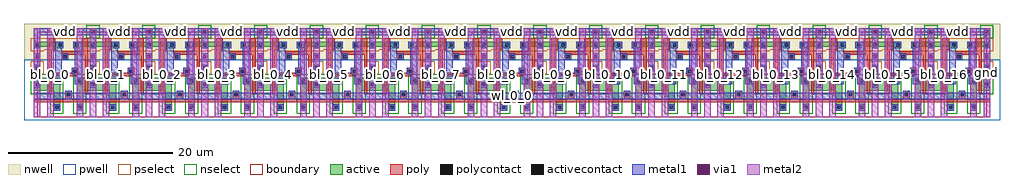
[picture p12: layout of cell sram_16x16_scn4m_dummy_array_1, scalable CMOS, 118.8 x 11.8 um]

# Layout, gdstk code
import gdstk
lib = gdstk.Library(unit=1e-6, precision=1e-09)
def R(c, l, rs):  # rectangles x0, y0, x1, y1
    for r in rs: c.add(gdstk.rectangle(r[:2], r[2:], *l))
def A(c, l, x, y, w, h, nx, ny, dx, dy):  # array of equal rectangles
    R(c, l, [(x+i*dx, y+j*dy, x+i*dx+w, y+j*dy+h) for i in range(nx) for j in range(ny)])
pwell = (41, 0)
nwell = (42, 0)
active = (43, 0)
pselect = (44, 0)
nselect = (45, 0)
poly = (46, 0)
polycontact = (47, 0)
activecontact = (48, 0)
metal1 = (49, 0)
via1 = (50, 0)
metal2 = (51, 0)
boundary = (63, 0)

dummy_cell_1rw = lib.new_cell('dummy_cell_1rw')
R(dummy_cell_1rw, pwell, [(-1.6,-0.4,8.4,7)])
R(dummy_cell_1rw, nwell, [(-1.6,7,8.4,11.4)])
A(dummy_cell_1rw, active, 2.4, 8.4, 0.8, 0.2, 3, 1, 2, 0)
R(dummy_cell_1rw, active, [(2,0.8,2.8,3.2), (4.8,0.8,5.6,3.2), (-0.4,3.2,2.8,4.8), (4.8,3.2,7.2,4.8), (-0.4,5.6,0.4,6.4), (6.4,5.6,7.2,6.4), (-0.4,8.4,0.4,8.6), (-0.4,8.6,3.2,9.2), (4.4,8.6,7.2,9.2), (6.4,10,7.2,10.8)])
R(dummy_cell_1rw, pselect, [(-0.8,5.2,0.8,6.8), (6,5.2,7.6,6.8), (-0.8,8,0.8,8.2), (2,8,7.6,8.2), (-0.8,8.2,7.6,9.6)])
R(dummy_cell_1rw, nselect, [(1.6,0.4,3.2,2.8), (4.4,0.4,6,2.8), (-0.8,2.8,3.2,5.2), (4.4,2.8,7.6,5.2), (6,9.6,7.6,11.2)])
R(dummy_cell_1rw, poly, [(-0.4,1.8,7.2,2.2), (3.4,2.2,4.2,3.2), (1.4,2.8,1.8,5), (5.8,2.8,6.2,7.6), (1.4,5,4.8,5.2), (1.4,5.2,5,5.4), (1.4,5.4,1.8,8.2), (4.2,5.4,5,6), (3,7,3.8,7.6), (3,7.6,6.2,8), (5.4,8,6.2,9.6), (1.4,8.2,2.2,9.6)])
R(dummy_cell_1rw, polycontact, [(3.6,2.6,4,3), (4.4,5.4,4.8,5.8), (3.2,7.2,3.6,7.6)])
A(dummy_cell_1rw, activecontact, 2.6, 8.6, 0.4, 0.4, 3, 1, 2, 0)
R(dummy_cell_1rw, activecontact, [(2.2,1,2.6,1.4), (5,1,5.4,1.4), (-0.2,3.8,0.2,4.2), (6.6,3.8,7,4.2), (2.2,4.2,2.6,4.6), (5,4.2,5.4,4.6), (-0.2,5.8,0.2,6.2), (6.6,5.8,7,6.2), (-0.2,8.6,0.2,9), (6.6,10.2,7,10.6)])
R(dummy_cell_1rw, metal1, [(2,0.8,2.8,1.6), (4.8,0.8,5.6,1.6), (-0.4,2.2,7.2,3), (-0.4,2.2,7.2,3), (3.4,3,4.2,3.2), (-0.4,3.6,0.4,7.8), (6.4,3.6,7.2,7.8), (2,4,3,4.8), (4.6,4,5.6,4.8), (2.2,4.8,3,7), (4.6,4.8,5.4,5.2), (4.2,5.2,5.4,6), (4.6,6,5.4,8.4), (2.2,7,3.8,7.8), (2.2,7.8,3,8.4), (-0.4,8.4,0.4,10), (2.2,8.4,3.2,9.2), (4.4,8.4,5.4,9.2), (6.4,8.4,7.2,10), (-0.4,10,7.2,10.8), (-0.4,10,7.2,10.8)])
R(dummy_cell_1rw, via1, [(-0.2,7.2,0.2,7.6), (6.6,7.2,7,7.6)])
R(dummy_cell_1rw, metal2, [(-0.4,0,0.4,10.8), (-0.4,0,0.4,10.8), (1.2,0,2,10.8), (1.2,0,2,10.8), (4.8,0,5.6,10.8), (4.8,0,5.6,10.8), (6.4,0,7.2,10.8), (6.4,0,7.2,10.8)])
R(dummy_cell_1rw, boundary, [(0,0,6.8,10.4)])
dummy_cell_1rw.add(gdstk.Label('vdd', (3.34,10.4), layer=49, texttype=0))
dummy_cell_1rw.add(gdstk.Label('wl', (0.8,2.6), layer=49, texttype=0))
dummy_cell_1rw.add(gdstk.Label('gnd', (0,1.2), layer=51, texttype=0))
dummy_cell_1rw.add(gdstk.Label('gnd', (6.8,1.2), layer=51, texttype=0))
dummy_cell_1rw.add(gdstk.Label('bl', (1.6,9.8), layer=51, texttype=0))
dummy_cell_1rw.add(gdstk.Label('br', (5.2,9.8), layer=51, texttype=0))
dummy_cell_1rw.add(gdstk.Label('bl', (1.6,5.4), layer=51, texttype=0))
dummy_cell_1rw.add(gdstk.Label('br', (5.2,5.4), layer=51, texttype=0))
dummy_cell_1rw.add(gdstk.Label('wl', (3.4,2.6), layer=49, texttype=0))
dummy_cell_1rw.add(gdstk.Label('vdd', (3.4,10.4), layer=49, texttype=0))
dummy_cell_1rw.add(gdstk.Label('gnd', (0,5.4), layer=51, texttype=0))
dummy_cell_1rw.add(gdstk.Label('gnd', (6.8,5.4), layer=51, texttype=0))

sram_16x16_scn4m_dummy_a = lib.new_cell('sram_16x16_scn4m_dummy_array_1')
A(sram_16x16_scn4m_dummy_a, metal1, -0.4, 10, 7.6, 0.8, 17, 1, 6.8, 0)
R(sram_16x16_scn4m_dummy_a, metal1, [(0,2.2,115.6,3)])
A(sram_16x16_scn4m_dummy_a, metal2, -0.4, 0, 0.8, 10.8, 18, 1, 6.8, 0)
R(sram_16x16_scn4m_dummy_a, metal2, [(1.2,0,2,10.4), (4.8,0,5.6,10.4), (8,0,8.8,10.4), (11.6,0,12.4,10.4), (14.8,0,15.6,10.4), (18.4,0,19.2,10.4), (21.6,0,22.4,10.4), (25.2,0,26,10.4), (28.4,0,29.2,10.4), (32,0,32.8,10.4), (35.2,0,36,10.4), (38.8,0,39.6,10.4), (42,0,42.8,10.4), (45.6,0,46.4,10.4), (48.8,0,49.6,10.4), (52.4,0,53.2,10.4), (55.6,0,56.4,10.4), (59.2,0,60,10.4), (62.4,0,63.2,10.4), (66,0,66.8,10.4), (69.2,0,70,10.4), (72.8,0,73.6,10.4), (76,0,76.8,10.4), (79.6,0,80.4,10.4), (82.8,0,83.6,10.4), (86.4,0,87.2,10.4), (89.6,0,90.4,10.4), (93.2,0,94,10.4), (96.4,0,97.2,10.4), (100,0,100.8,10.4), (103.2,0,104,10.4), (106.8,0,107.6,10.4), (110,0,110.8,10.4), (113.6,0,114.4,10.4)])
R(sram_16x16_scn4m_dummy_a, boundary, [(0,0,115.6,10.4)])
sram_16x16_scn4m_dummy_a.add(gdstk.Reference(dummy_cell_1rw, (0,0)))
sram_16x16_scn4m_dummy_a.add(gdstk.Reference(dummy_cell_1rw, (6.8,0)))
sram_16x16_scn4m_dummy_a.add(gdstk.Reference(dummy_cell_1rw, (13.6,0)))
sram_16x16_scn4m_dummy_a.add(gdstk.Reference(dummy_cell_1rw, (20.4,0)))
sram_16x16_scn4m_dummy_a.add(gdstk.Reference(dummy_cell_1rw, (27.2,0)))
sram_16x16_scn4m_dummy_a.add(gdstk.Reference(dummy_cell_1rw, (34,0)))
sram_16x16_scn4m_dummy_a.add(gdstk.Reference(dummy_cell_1rw, (40.8,0)))
sram_16x16_scn4m_dummy_a.add(gdstk.Reference(dummy_cell_1rw, (47.6,0)))
sram_16x16_scn4m_dummy_a.add(gdstk.Reference(dummy_cell_1rw, (54.4,0)))
sram_16x16_scn4m_dummy_a.add(gdstk.Reference(dummy_cell_1rw, (61.2,0)))
sram_16x16_scn4m_dummy_a.add(gdstk.Reference(dummy_cell_1rw, (68,0)))
sram_16x16_scn4m_dummy_a.add(gdstk.Reference(dummy_cell_1rw, (74.8,0)))
sram_16x16_scn4m_dummy_a.add(gdstk.Reference(dummy_cell_1rw, (81.6,0)))
sram_16x16_scn4m_dummy_a.add(gdstk.Reference(dummy_cell_1rw, (88.4,0)))
sram_16x16_scn4m_dummy_a.add(gdstk.Reference(dummy_cell_1rw, (95.2,0)))
sram_16x16_scn4m_dummy_a.add(gdstk.Reference(dummy_cell_1rw, (102,0)))
sram_16x16_scn4m_dummy_a.add(gdstk.Reference(dummy_cell_1rw, (108.8,0)))
sram_16x16_scn4m_dummy_a.add(gdstk.Label('bl_0_0', (1.6,5.2), layer=51, texttype=0))
sram_16x16_scn4m_dummy_a.add(gdstk.Label('br_0_0', (5.2,5.2), layer=51, texttype=0))
sram_16x16_scn4m_dummy_a.add(gdstk.Label('bl_0_1', (8.4,5.2), layer=51, texttype=0))
sram_16x16_scn4m_dummy_a.add(gdstk.Label('br_0_1', (12,5.2), layer=51, texttype=0))
sram_16x16_scn4m_dummy_a.add(gdstk.Label('bl_0_2', (15.2,5.2), layer=51, texttype=0))
sram_16x16_scn4m_dummy_a.add(gdstk.Label('br_0_2', (18.8,5.2), layer=51, texttype=0))
sram_16x16_scn4m_dummy_a.add(gdstk.Label('bl_0_3', (22,5.2), layer=51, texttype=0))
sram_16x16_scn4m_dummy_a.add(gdstk.Label('br_0_3', (25.6,5.2), layer=51, texttype=0))
sram_16x16_scn4m_dummy_a.add(gdstk.Label('bl_0_4', (28.8,5.2), layer=51, texttype=0))
sram_16x16_scn4m_dummy_a.add(gdstk.Label('br_0_4', (32.4,5.2), layer=51, texttype=0))
sram_16x16_scn4m_dummy_a.add(gdstk.Label('bl_0_5', (35.6,5.2), layer=51, texttype=0))
sram_16x16_scn4m_dummy_a.add(gdstk.Label('br_0_5', (39.2,5.2), layer=51, texttype=0))
sram_16x16_scn4m_dummy_a.add(gdstk.Label('bl_0_6', (42.4,5.2), layer=51, texttype=0))
sram_16x16_scn4m_dummy_a.add(gdstk.Label('br_0_6', (46,5.2), layer=51, texttype=0))
sram_16x16_scn4m_dummy_a.add(gdstk.Label('bl_0_7', (49.2,5.2), layer=51, texttype=0))
sram_16x16_scn4m_dummy_a.add(gdstk.Label('br_0_7', (52.8,5.2), layer=51, texttype=0))
sram_16x16_scn4m_dummy_a.add(gdstk.Label('bl_0_8', (56,5.2), layer=51, texttype=0))
sram_16x16_scn4m_dummy_a.add(gdstk.Label('br_0_8', (59.6,5.2), layer=51, texttype=0))
sram_16x16_scn4m_dummy_a.add(gdstk.Label('bl_0_9', (62.8,5.2), layer=51, texttype=0))
sram_16x16_scn4m_dummy_a.add(gdstk.Label('br_0_9', (66.4,5.2), layer=51, texttype=0))
sram_16x16_scn4m_dummy_a.add(gdstk.Label('bl_0_10', (69.6,5.2), layer=51, texttype=0))
sram_16x16_scn4m_dummy_a.add(gdstk.Label('br_0_10', (73.2,5.2), layer=51, texttype=0))
sram_16x16_scn4m_dummy_a.add(gdstk.Label('bl_0_11', (76.4,5.2), layer=51, texttype=0))
sram_16x16_scn4m_dummy_a.add(gdstk.Label('br_0_11', (80,5.2), layer=51, texttype=0))
sram_16x16_scn4m_dummy_a.add(gdstk.Label('bl_0_12', (83.2,5.2), layer=51, texttype=0))
sram_16x16_scn4m_dummy_a.add(gdstk.Label('br_0_12', (86.8,5.2), layer=51, texttype=0))
sram_16x16_scn4m_dummy_a.add(gdstk.Label('bl_0_13', (90,5.2), layer=51, texttype=0))
sram_16x16_scn4m_dummy_a.add(gdstk.Label('br_0_13', (93.6,5.2), layer=51, texttype=0))
sram_16x16_scn4m_dummy_a.add(gdstk.Label('bl_0_14', (96.8,5.2), layer=51, texttype=0))
sram_16x16_scn4m_dummy_a.add(gdstk.Label('br_0_14', (100.4,5.2), layer=51, texttype=0))
sram_16x16_scn4m_dummy_a.add(gdstk.Label('bl_0_15', (103.6,5.2), layer=51, texttype=0))
sram_16x16_scn4m_dummy_a.add(gdstk.Label('br_0_15', (107.2,5.2), layer=51, texttype=0))
sram_16x16_scn4m_dummy_a.add(gdstk.Label('bl_0_16', (110.4,5.2), layer=51, texttype=0))
sram_16x16_scn4m_dummy_a.add(gdstk.Label('br_0_16', (114,5.2), layer=51, texttype=0))
sram_16x16_scn4m_dummy_a.add(gdstk.Label('wl_0_0', (57.8,2.6), layer=49, texttype=0))
sram_16x16_scn4m_dummy_a.add(gdstk.Label('vdd', (91.8,10.4), layer=49, texttype=0))
sram_16x16_scn4m_dummy_a.add(gdstk.Label('vdd', (51,10.4), layer=49, texttype=0))
sram_16x16_scn4m_dummy_a.add(gdstk.Label('vdd', (57.8,10.4), layer=49, texttype=0))
sram_16x16_scn4m_dummy_a.add(gdstk.Label('vdd', (17,10.4), layer=49, texttype=0))
sram_16x16_scn4m_dummy_a.add(gdstk.Label('vdd', (37.4,10.4), layer=49, texttype=0))
sram_16x16_scn4m_dummy_a.add(gdstk.Label('vdd', (30.6,10.4), layer=49, texttype=0))
sram_16x16_scn4m_dummy_a.add(gdstk.Label('vdd', (44.2,10.4), layer=49, texttype=0))
sram_16x16_scn4m_dummy_a.add(gdstk.Label('vdd', (78.2,10.4), layer=49, texttype=0))
sram_16x16_scn4m_dummy_a.add(gdstk.Label('vdd', (71.4,10.4), layer=49, texttype=0))
sram_16x16_scn4m_dummy_a.add(gdstk.Label('vdd', (85,10.4), layer=49, texttype=0))
sram_16x16_scn4m_dummy_a.add(gdstk.Label('vdd', (98.6,10.4), layer=49, texttype=0))
sram_16x16_scn4m_dummy_a.add(gdstk.Label('vdd', (23.8,10.4), layer=49, texttype=0))
sram_16x16_scn4m_dummy_a.add(gdstk.Label('vdd', (3.4,10.4), layer=49, texttype=0))
sram_16x16_scn4m_dummy_a.add(gdstk.Label('vdd', (105.4,10.4), layer=49, texttype=0))
sram_16x16_scn4m_dummy_a.add(gdstk.Label('vdd', (112.2,10.4), layer=49, texttype=0))
sram_16x16_scn4m_dummy_a.add(gdstk.Label('vdd', (10.2,10.4), layer=49, texttype=0))
sram_16x16_scn4m_dummy_a.add(gdstk.Label('vdd', (64.6,10.4), layer=49, texttype=0))
sram_16x16_scn4m_dummy_a.add(gdstk.Label('gnd', (6.8,5.4), layer=51, texttype=0))
sram_16x16_scn4m_dummy_a.add(gdstk.Label('gnd', (61.2,5.4), layer=51, texttype=0))
sram_16x16_scn4m_dummy_a.add(gdstk.Label('gnd', (115.6,5.4), layer=51, texttype=0))
sram_16x16_scn4m_dummy_a.add(gdstk.Label('gnd', (54.4,5.4), layer=51, texttype=0))
sram_16x16_scn4m_dummy_a.add(gdstk.Label('gnd', (0,5.4), layer=51, texttype=0))
sram_16x16_scn4m_dummy_a.add(gdstk.Label('gnd', (40.8,5.4), layer=51, texttype=0))
sram_16x16_scn4m_dummy_a.add(gdstk.Label('gnd', (68,5.4), layer=51, texttype=0))
sram_16x16_scn4m_dummy_a.add(gdstk.Label('gnd', (20.4,5.4), layer=51, texttype=0))
sram_16x16_scn4m_dummy_a.add(gdstk.Label('gnd', (95.2,5.4), layer=51, texttype=0))
sram_16x16_scn4m_dummy_a.add(gdstk.Label('gnd', (81.6,5.4), layer=51, texttype=0))
sram_16x16_scn4m_dummy_a.add(gdstk.Label('gnd', (13.6,5.4), layer=51, texttype=0))
sram_16x16_scn4m_dummy_a.add(gdstk.Label('gnd', (88.4,5.4), layer=51, texttype=0))
sram_16x16_scn4m_dummy_a.add(gdstk.Label('gnd', (102,5.4), layer=51, texttype=0))
sram_16x16_scn4m_dummy_a.add(gdstk.Label('gnd', (27.2,5.4), layer=51, texttype=0))
sram_16x16_scn4m_dummy_a.add(gdstk.Label('gnd', (74.8,5.4), layer=51, texttype=0))
sram_16x16_scn4m_dummy_a.add(gdstk.Label('gnd', (47.6,5.4), layer=51, texttype=0))
sram_16x16_scn4m_dummy_a.add(gdstk.Label('gnd', (108.8,5.4), layer=51, texttype=0))
sram_16x16_scn4m_dummy_a.add(gdstk.Label('gnd', (34,5.4), layer=51, texttype=0))

lib.write_gds('sram_16x16_scn4m_dummy_array_1.gds')
